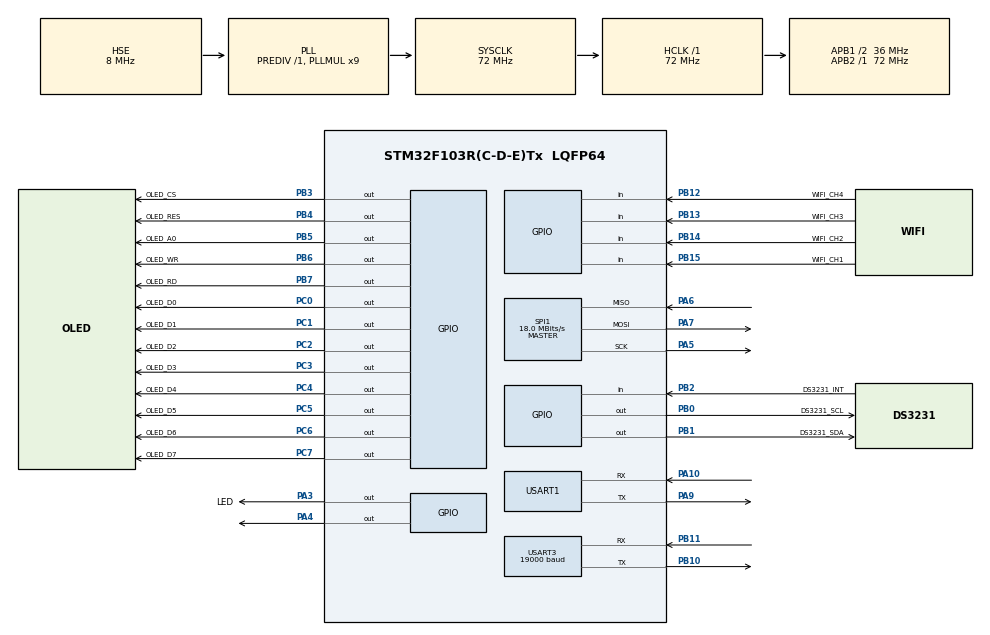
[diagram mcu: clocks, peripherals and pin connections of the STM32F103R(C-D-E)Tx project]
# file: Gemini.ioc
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Dma.Request0=USART1_RX
Dma.Request1=USART1_TX
Dma.Request2=SPI1_RX
Dma.SPI1_RX.2.Direction=DMA_PERIPH_TO_MEMORY
Dma.SPI1_RX.2.Instance=DMA1_Channel2
Dma.SPI1_RX.2.MemDataAlignment=DMA_MDATAALIGN_BYTE
Dma.SPI1_RX.2.MemInc=DMA_MINC_ENABLE
Dma.SPI1_RX.2.Mode=DMA_NORMAL
Dma.SPI1_RX.2.PeriphDataAlignment=DMA_PDATAALIGN_BYTE
Dma.SPI1_RX.2.PeriphInc=DMA_PINC_DISABLE
Dma.SPI1_RX.2.Priority=DMA_PRIORITY_HIGH
Dma.USART1_RX.0.Direction=DMA_PERIPH_TO_MEMORY
Dma.USART1_RX.0.Instance=DMA1_Channel5
Dma.USART1_RX.0.MemDataAlignment=DMA_MDATAALIGN_BYTE
Dma.USART1_RX.0.MemInc=DMA_MINC_ENABLE
Dma.USART1_RX.0.Mode=DMA_NORMAL
Dma.USART1_RX.0.PeriphDataAlignment=DMA_PDATAALIGN_BYTE
Dma.USART1_RX.0.PeriphInc=DMA_PINC_DISABLE
Dma.USART1_RX.0.Priority=DMA_PRIORITY_HIGH
Dma.USART1_TX.1.Direction=DMA_MEMORY_TO_PERIPH
Dma.USART1_TX.1.Instance=DMA1_Channel4
Dma.USART1_TX.1.MemDataAlignment=DMA_MDATAALIGN_BYTE
Dma.USART1_TX.1.MemInc=DMA_MINC_ENABLE
Dma.USART1_TX.1.Mode=DMA_NORMAL
Dma.USART1_TX.1.PeriphDataAlignment=DMA_PDATAALIGN_BYTE
Dma.USART1_TX.1.PeriphInc=DMA_PINC_DISABLE
Dma.USART1_TX.1.Priority=DMA_PRIORITY_LOW
Mcu.Family=STM32F1
Mcu.Name=STM32F103R(C-D-E)Tx
Mcu.Package=LQFP64
NVIC.DMA1_Channel2_IRQn=true\:0\:0\:false\:false\:true\:false\:true
NVIC.DMA1_Channel4_IRQn=true\:0\:0\:false\:false\:true\:false\:true
NVIC.DMA1_Channel5_IRQn=true\:0\:0\:false\:false\:true\:false\:true
NVIC.PriorityGroup=NVIC_PRIORITYGROUP_4
NVIC.TIM4_IRQn=true\:2\:0\:true\:false\:true\:true\:true
NVIC.TIM6_IRQn=true\:0\:0\:false\:false\:true\:true\:true
NVIC.TIM7_IRQn=true\:0\:0\:false\:false\:true\:true\:true
NVIC.TIM8_UP_IRQn=true\:3\:0\:true\:false\:true\:true\:true
NVIC.USART1_IRQn=true\:2\:0\:true\:false\:true\:true\:true
NVIC.USART3_IRQn=true\:0\:0\:false\:false\:true\:true\:true
PA10.Mode=Asynchronous
PA10.Signal=USART1_RX
PA13.Mode=Serial_Wire
PA13.Signal=SYS_JTMS-SWDIO
PA14.Mode=Serial_Wire
PA14.Signal=SYS_JTCK-SWCLK
PA3.GPIO_Label=LED
PA3.GPIO_ModeDefaultOutputPP=GPIO_MODE_OUTPUT_PP
PA3.GPIO_PuPd=GPIO_PULLUP
PA3.GPIO_Speed=GPIO_SPEED_FREQ_LOW
PA3.PinState=GPIO_PIN_SET
PA3.Signal=GPIO_Output
PA4.Signal=GPIO_Output
PA5.Mode=Full_Duplex_Master
PA5.Signal=SPI1_SCK
PA6.Mode=Full_Duplex_Master
PA6.Signal=SPI1_MISO
PA7.Mode=Full_Duplex_Master
PA7.Signal=SPI1_MOSI
PA9.Mode=Asynchronous
PA9.Signal=USART1_TX
PB0.GPIO_Label=DS3231_SCL
PB0.GPIO_PuPd=GPIO_PULLUP
PB0.GPIO_Speed=GPIO_SPEED_FREQ_MEDIUM
PB0.PinState=GPIO_PIN_SET
PB0.Signal=GPIO_Output
PB1.GPIO_Label=DS3231_SDA
PB1.GPIO_PuPd=GPIO_NOPULL
PB1.GPIO_Speed=GPIO_SPEED_FREQ_MEDIUM
PB1.PinState=GPIO_PIN_SET
PB1.Signal=GPIO_Output
PB10.Mode=Asynchronous
PB10.Signal=USART3_TX
PB11.Mode=Asynchronous
PB11.Signal=USART3_RX
PB12.GPIO_Label=WIFI_CH4
PB12.GPIO_Mode=GPIO_MODE_INPUT
PB12.GPIO_PuPd=GPIO_PULLDOWN
PB12.Signal=GPIO_Input
PB13.GPIO_Label=WIFI_CH3
PB13.GPIO_Mode=GPIO_MODE_INPUT
PB13.GPIO_PuPd=GPIO_PULLDOWN
PB13.Signal=GPIO_Input
PB14.GPIO_Label=WIFI_CH2
PB14.GPIO_Mode=GPIO_MODE_INPUT
PB14.GPIO_PuPd=GPIO_PULLDOWN
PB14.Signal=GPIO_Input
PB15.GPIO_Label=WIFI_CH1
PB15.GPIO_Mode=GPIO_MODE_INPUT
PB15.GPIO_PuPd=GPIO_PULLDOWN
PB15.Signal=GPIO_Input
PB2.GPIO_Label=DS3231_INT
PB2.GPIO_PuPd=GPIO_PULLUP
PB2.Signal=GPIO_Input
PB3.GPIO_Label=OLED_CS
PB3.GPIO_ModeDefaultOutputPP=GPIO_MODE_OUTPUT_PP
PB3.GPIO_PuPd=GPIO_PULLUP
PB3.GPIO_Speed=GPIO_SPEED_FREQ_MEDIUM
PB3.PinState=GPIO_PIN_SET
PB3.Signal=GPIO_Output
PB4.GPIO_Label=OLED_RES
PB4.GPIO_ModeDefaultOutputPP=GPIO_MODE_OUTPUT_PP
PB4.GPIO_PuPd=GPIO_PULLUP
PB4.GPIO_Speed=GPIO_SPEED_FREQ_MEDIUM
PB4.PinState=GPIO_PIN_SET
PB4.Signal=GPIO_Output
PB5.GPIO_Label=OLED_A0
PB5.GPIO_ModeDefaultOutputPP=GPIO_MODE_OUTPUT_PP
PB5.GPIO_PuPd=GPIO_PULLUP
PB5.GPIO_Speed=GPIO_SPEED_FREQ_MEDIUM
PB5.PinState=GPIO_PIN_SET
PB5.Signal=GPIO_Output
PB6.GPIO_Label=OLED_WR
PB6.GPIO_ModeDefaultOutputPP=GPIO_MODE_OUTPUT_PP
PB6.GPIO_PuPd=GPIO_PULLUP
PB6.GPIO_Speed=GPIO_SPEED_FREQ_MEDIUM
PB6.PinState=GPIO_PIN_SET
PB6.Signal=GPIO_Output
PB7.GPIO_Label=OLED_RD
PB7.GPIO_ModeDefaultOutputPP=GPIO_MODE_OUTPUT_PP
PB7.GPIO_PuPd=GPIO_PULLUP
PB7.GPIO_Speed=GPIO_SPEED_FREQ_MEDIUM
PB7.PinState=GPIO_PIN_SET
PB7.Signal=GPIO_Output
PC0.GPIO_Label=OLED_D0
PC0.GPIO_ModeDefaultOutputPP=GPIO_MODE_OUTPUT_PP
PC0.GPIO_PuPd=GPIO_PULLUP
PC0.GPIO_Speed=GPIO_SPEED_FREQ_HIGH
PC0.PinState=GPIO_PIN_SET
PC0.Signal=GPIO_Output
PC1.GPIO_Label=OLED_D1
PC1.GPIO_ModeDefaultOutputPP=GPIO_MODE_OUTPUT_PP
PC1.GPIO_PuPd=GPIO_PULLUP
PC1.GPIO_Speed=GPIO_SPEED_FREQ_HIGH
PC1.PinState=GPIO_PIN_SET
PC1.Signal=GPIO_Output
PC2.GPIO_Label=OLED_D2
PC2.GPIO_ModeDefaultOutputPP=GPIO_MODE_OUTPUT_PP
PC2.GPIO_PuPd=GPIO_PULLUP
PC2.GPIO_Speed=GPIO_SPEED_FREQ_HIGH
PC2.PinState=GPIO_PIN_SET
PC2.Signal=GPIO_Output
PC3.GPIO_Label=OLED_D3
PC3.GPIO_ModeDefaultOutputPP=GPIO_MODE_OUTPUT_PP
PC3.GPIO_PuPd=GPIO_PULLUP
PC3.GPIO_Speed=GPIO_SPEED_FREQ_HIGH
PC3.PinState=GPIO_PIN_SET
PC3.Signal=GPIO_Output
PC4.GPIO_Label=OLED_D4
PC4.GPIO_ModeDefaultOutputPP=GPIO_MODE_OUTPUT_PP
PC4.GPIO_PuPd=GPIO_PULLUP
PC4.GPIO_Speed=GPIO_SPEED_FREQ_HIGH
PC4.PinState=GPIO_PIN_SET
PC4.Signal=GPIO_Output
PC5.GPIO_Label=OLED_D5
PC5.GPIO_ModeDefaultOutputPP=GPIO_MODE_OUTPUT_PP
PC5.GPIO_PuPd=GPIO_PULLUP
PC5.GPIO_Speed=GPIO_SPEED_FREQ_HIGH
PC5.PinState=GPIO_PIN_SET
PC5.Signal=GPIO_Output
PC6.GPIO_Label=OLED_D6
PC6.GPIO_ModeDefaultOutputPP=GPIO_MODE_OUTPUT_PP
PC6.GPIO_PuPd=GPIO_PULLUP
PC6.GPIO_Speed=GPIO_SPEED_FREQ_HIGH
PC6.PinState=GPIO_PIN_SET
PC6.Signal=GPIO_Output
PC7.GPIO_Label=OLED_D7
PC7.GPIO_ModeDefaultOutputPP=GPIO_MODE_OUTPUT_PP
PC7.GPIO_PuPd=GPIO_PULLUP
PC7.GPIO_Speed=GPIO_SPEED_FREQ_HIGH
PC7.PinState=GPIO_PIN_SET
PC7.Signal=GPIO_Output
PD0-OSC_IN.Mode=HSE-External-Oscillator
PD0-OSC_IN.Signal=RCC_OSC_IN
PD1-OSC_OUT.Mode=HSE-External-Oscillator
PD1-OSC_OUT.Signal=RCC_OSC_OUT
ProjectManager.HeapSize=0x200
ProjectManager.StackSize=0x400
ProjectManager.TargetToolchain=MDK-ARM V5
RCC.ADCPresc=RCC_ADCPCLK2_DIV6
RCC.AHBFreq_Value=72000000
RCC.APB1CLKDivider=RCC_HCLK_DIV2
RCC.APB1Freq_Value=36000000
RCC.APB1TimFreq_Value=72000000
RCC.APB2Freq_Value=72000000
RCC.APB2TimFreq_Value=72000000
RCC.HCLKFreq_Value=72000000
RCC.PLLMUL=RCC_PLL_MUL9
RCC.PLLSourceVirtual=RCC_PLLSOURCE_HSE
RCC.SYSCLKFreq_VALUE=72000000
RCC.SYSCLKSource=RCC_SYSCLKSOURCE_PLLCLK
RCC.USBFreq_Value=72000000
SPI1.BaudRatePrescaler=SPI_BAUDRATEPRESCALER_4
SPI1.CLKPhase=SPI_PHASE_2EDGE
SPI1.CLKPolarity=SPI_POLARITY_HIGH
SPI1.CalculateBaudRate=18.0 MBits/s
SPI1.Direction=SPI_DIRECTION_2LINES
SPI1.Mode=SPI_MODE_MASTER
SPI1.VirtualType=VM_MASTER
TIM4.AutoReloadPreload=TIM_AUTORELOAD_PRELOAD_ENABLE
TIM4.Period=199
TIM4.Prescaler=7199
TIM6.Period=999
TIM6.Prescaler=7199
TIM7.AutoReloadPreload=TIM_AUTORELOAD_PRELOAD_ENABLE
TIM7.Period=4999
TIM7.Prescaler=7199
TIM8.AutoReloadPreload=TIM_AUTORELOAD_PRELOAD_ENABLE
TIM8.Period=199
TIM8.Prescaler=7199
TIM8.RepetitionCounter=0
USART1.VirtualMode=VM_ASYNC
USART3.BaudRate=19000
USART3.Mode=MODE_RX
USART3.VirtualMode=VM_ASYNC
VP_TIM4_VS_ClockSourceINT.Mode=Internal
VP_TIM6_VS_ClockSourceINT.Mode=Enable_Timer
VP_TIM7_VS_ClockSourceINT.Mode=Enable_Timer
VP_TIM8_VS_ClockSourceINT.Mode=Internal
board=custom

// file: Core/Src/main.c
/* USER CODE BEGIN Header */
/**
  ******************************************************************************
  * @file           : main.c
  * @brief          : Main program body
  ******************************************************************************
  ** This notice applies to any and all portions of this file
  * that are not between comment pairs USER CODE BEGIN and
  * USER CODE END. Other portions of this file, whether
  * inserted by the user or by software development tools
  * are owned by their respective copyright owners.
  *
  * COPYRIGHT(c) 2019 STMicroelectronics
  *
  * Redistribution and use in source and binary forms, with or without modification,
  * are permitted provided that the following conditions are met:
  *   1. Redistributions of source code must retain the above copyright notice,
  *      this list of conditions and the following disclaimer.
  *   2. Redistributions in binary form must reproduce the above copyright notice,
  *      this list of conditions and the following disclaimer in the documentation
  *      and/or other materials provided with the distribution.
  *   3. Neither the name of STMicroelectronics nor the names of its contributors
  *      may be used to endorse or promote products derived from this software
  *      without specific prior written permission.
  *
  * THIS SOFTWARE IS PROVIDED BY THE COPYRIGHT HOLDERS AND CONTRIBUTORS "AS IS"
  * AND ANY EXPRESS OR IMPLIED WARRANTIES, INCLUDING, BUT NOT LIMITED TO, THE
  * IMPLIED WARRANTIES OF MERCHANTABILITY AND FITNESS FOR A PARTICULAR PURPOSE ARE
  * DISCLAIMED. IN NO EVENT SHALL THE COPYRIGHT HOLDER OR CONTRIBUTORS BE LIABLE
  * FOR ANY DIRECT, INDIRECT, INCIDENTAL, SPECIAL, EXEMPLARY, OR CONSEQUENTIAL
  * DAMAGES (INCLUDING, BUT NOT LIMITED TO, PROCUREMENT OF SUBSTITUTE GOODS OR
  * SERVICES; LOSS OF USE, DATA, OR PROFITS; OR BUSINESS INTERRUPTION) HOWEVER
  * CAUSED AND ON ANY THEORY OF LIABILITY, WHETHER IN CONTRACT, STRICT LIABILITY,
  * OR TORT (INCLUDING NEGLIGENCE OR OTHERWISE) ARISING IN ANY WAY OUT OF THE USE
  * OF THIS SOFTWARE, EVEN IF ADVISED OF THE POSSIBILITY OF SUCH DAMAGE.
  *
  ******************************************************************************
  */
/* USER CODE END Header */

#include "main.h"
#include "dma.h"
#include "spi.h"
#include "tim.h"
#include "usart.h"
#include "gpio.h"

/* USER CODE BEGIN Includes */
#include "sys.h"
#include "math.h"
#include "config.h"
#include "oled.h"
#include "ds3231.h"
//#include "mpu6050.h"
#include "flash.h"
#include "stdio.h"
#include "vfd.h"
//#include "apds9960.h"
#include "sk6812.h"
#include "remote.h"

/* USER CODE END Includes */

/* USER CODE BEGIN PD */
#define SLEEPTIME    20*60

/* USER CODE END PD */

/* USER CODE BEGIN PM */
uint8_t Flag_Refrash = False;
uint8_t Flag_Blink = False;
uint8_t Flag_Sleep = False;
uint8_t Flag_Continue = False;
uint8_t Flag_Reception = True;
uint8_t OfflineCount = 10;
uint8_t SystemActive = False;

char Display_Time[6]="--:--";
char Display_State[5] = "----";
char Display_Notification[6]="V1.00";

uint8_t Remote_Value;
uint8_t RandomP = 6;
uint8_t RandomPosX = 30,RandomPosY = 1;
u8 BTVPostionX = 1;//124
u8 BTVPostionY = 5;//30

/* USER CODE END PM */

void SystemClock_Config(void);
/* USER CODE BEGIN PFP */

#define TrumHeight   64
#define TrumWidth    1
#define TrumInterval 1
#define TrumNum	   	 128

uint8_t fall_pot[250]={0};	//记录下落点的坐标
uint8_t flow_pot[250]={0};

u16 Display_Mode = MODE_OFFLINE;

/* USER CODE END PFP */

/* USER CODE BEGIN 0 */
void OLED_Boot(void);
void TIME_Mode(void);

u8 BootGRAM[304*48];

int cont_str(char *s)
{
	int i = 0;
	while ( s[++i] != '\0')   ;
	return i-1;
}
float temp;
void temp_data(void)
{
	float Rt=0;
	float Rp=10000;
	float T2=273.15+25;
	float Bx=3435;
	float Ka=273.15;
	float vol=0;
	//   vol=(float)((Get_Adc_Average(ADC_Channel_5,10))*(3.3/4096));
	//   Rt=(3.3-vol)*10000/vol;
	Rt = 22050;
	temp=1/(1/T2+log(Rt/Rp)/Bx)-Ka+0.5;
	printf("Temp is %f",temp);
}
/* USER CODE END 0 */

int main(void)
{

  /* MCU Configuration--------------------------------------------------------*/

  /* Reset of all peripherals, Initializes the Flash interface and the Systick. */
  HAL_Init();

  /* Configure the system clock */
  SystemClock_Config();

  /* Initialize all configured peripherals */
  MX_GPIO_Init();
  MX_DMA_Init();
  MX_SPI1_Init();
  MX_USART1_UART_Init();
  MX_USART3_UART_Init();
  MX_TIM6_Init();
  MX_TIM7_Init();
  MX_TIM4_Init();
  MX_TIM8_Init();
  /* USER CODE BEGIN 2 */
	OLED_Init();
	__HAL_UART_ENABLE_IT(&huart1, UART_IT_IDLE);
  HAL_UART_Receive_DMA(&huart1,Uart_Recv1_Buf,Uart_Max_Length);
	HAL_TIM_Base_Start_IT(&htim4);
	HAL_TIM_Base_Start_IT(&htim6);
	HAL_TIM_Base_Start_IT(&htim7);
	HAL_TIM_Base_Start_IT(&htim8);

	OLED_AllMotion_Init();
	InitData();
	sprintf(Device_Str.vcputemp,"---#");
	sprintf(Device_Str.vgputemp,"---#");
	printf("Flash ID is 0x%X",SPI_Flash_ReadID());
	HAL_UART_Receive_IT(&huart3,&Uart_Recv3_Data,1);
	Update_Pos();

	SPI_Flash_Init();
//	Recvcmd();
	printf("Init OK\r\n");
	if(Device_Cmd.commandset&0x2)
	{
		OLED_Boot();
	}
	while(1){ OLED_Boot();temp_data();}
  /* USER CODE END 2 */

  /* Infinite loop */
  while (1)
	{

    /* USER CODE BEGIN 3 */
		switch(Display_Mode)
		{
//#if GEMINI == 1
			case MODE_DEFALUT:DATE_Mode();break;
			case MODE_DATE:DATE_Mode();break;
//#else
//			case MODE_DEFALUT:TIME_Mode();break;
//			case MODE_DATE:TIME_Mode();break;
//#endif
			case MODE_NORMAL:NORMAL_Mode();break;
			case MODE_GAME:GAME_Mode();break;
			case MODE_OFFLINE:DATE_Mode();break;
			case MODE_SLEEP:SLEEP_Mode();break;
			case MODE_MUSIC:MUSIC_Mode();break;
			default:Display_Mode = MODE_DEFALUT;break;
		}
  }
  /* USER CODE END 3 */
}

void SystemClock_Config(void)
{
  RCC_OscInitTypeDef RCC_OscInitStruct = {0};
  RCC_ClkInitTypeDef RCC_ClkInitStruct = {0};

  /** Initializes the CPU, AHB and APB busses clocks
  */
  RCC_OscInitStruct.OscillatorType = RCC_OSCILLATORTYPE_HSE;
  RCC_OscInitStruct.HSEState = RCC_HSE_ON;
  RCC_OscInitStruct.HSEPredivValue = RCC_HSE_PREDIV_DIV1;
  RCC_OscInitStruct.HSIState = RCC_HSI_ON;
  RCC_OscInitStruct.PLL.PLLState = RCC_PLL_ON;
  RCC_OscInitStruct.PLL.PLLSource = RCC_PLLSOURCE_HSE;
  RCC_OscInitStruct.PLL.PLLMUL = RCC_PLL_MUL9;
  if (HAL_RCC_OscConfig(&RCC_OscInitStruct) != HAL_OK)
  {
    Error_Handler();
  }
  /** Initializes the CPU, AHB and APB busses clocks
  */
  RCC_ClkInitStruct.ClockType = RCC_CLOCKTYPE_HCLK|RCC_CLOCKTYPE_SYSCLK
                              |RCC_CLOCKTYPE_PCLK1|RCC_CLOCKTYPE_PCLK2;
  RCC_ClkInitStruct.SYSCLKSource = RCC_SYSCLKSOURCE_PLLCLK;
  RCC_ClkInitStruct.AHBCLKDivider = RCC_SYSCLK_DIV1;
  RCC_ClkInitStruct.APB1CLKDivider = RCC_HCLK_DIV2;
  RCC_ClkInitStruct.APB2CLKDivider = RCC_HCLK_DIV1;

  if (HAL_RCC_ClockConfig(&RCC_ClkInitStruct, FLASH_LATENCY_2) != HAL_OK)
  {
    Error_Handler();
  }
}

/* USER CODE BEGIN 4 */

void OLED_Boot(void)
{
	int i;
	for(i=179;i>0;i--)
	{
		SystemActive = False;
		SPI_Flash_Read(BootGRAM,i*256*32,256*32);
		OLED_Clear();
		OLED_Full(BootGRAM);
		OLED_Refresh_Gram();
		SystemActive = True;
	}
#if GEMINI == 1

	int i;
	for(i=0;i<56;i++)
	{
		SystemActive = False;
		SPI_Flash_Read(BootGRAM,i*304*48,304*48);
		OLED_Clear();
		OLED_Full(BootGRAM);
		OLED_Refresh_Gram();
		SystemActive = True;
	}
	HAL_Delay(100);
	for(i=0;i<96;i+=8)
	{
		OLED_Clear();
		OLED_Full(BootGRAM);
		OLED_Refresh_Gram();
	}
#elif MARKC == 1
	int i;
	for(i=0;i<90;i++)
	{
		SPI_Flash_Read(BootGRAM,i*304*12,304*12);
		OLED_Clear();
		OLED_Convert(0,4,152,BootGRAM);
		OLED_Refresh_Gram();
	}
	HAL_Delay(100);
	for(i=4;i<96;i+=8)
	{
		OLED_Clear();
		OLED_Convert(0,i,152,BootGRAM);
		OLED_Refresh_Gram();
	}
#endif
}

void Display_Style3(void)
{
	uint16_t i = 0;
	uint16_t j = 0;
	int Temp = 0;
	uint16_t Index;
	static float BackFlag[100]={0};
	/*******************显示*******************/
	for(i = 0; i < 76; i++)
	{
		Index = (float)i*180/TrumNum;
		Temp = TrumHeight - (u16)(Device_Msg.fft[Index]/2.5f);
		if(Temp < 4)
			Temp = 4;
		if(flow_pot[i]+6 < Temp)
			flow_pot[i] += 2;
		else if(flow_pot[i]+2 < Temp)
			flow_pot[i] += 2;
		else if(flow_pot[i] < Temp)
			flow_pot[i] += 1;

		if(flow_pot[i] > (Temp+6))
			flow_pot[i] -= 2;
		else if(flow_pot[i] > (Temp+2))
			flow_pot[i] -= 2;
		else if(flow_pot[i] > Temp)
			flow_pot[i] -= 1;

		if(fall_pot[i]+3 > flow_pot[i])
		{
			fall_pot[i] = flow_pot[i]-3;
			BackFlag[i] = 0;
		}
		else if(fall_pot[i]+3 < flow_pot[i])
		{
			if(!BackFlag[i])
			{
				if(fall_pot[i]>=4)
					fall_pot[i] -= 1.5f;
				else if(fall_pot[i])
					BackFlag[i] = 1;
			}
			else
				fall_pot[i] += 2;
		}

		GUI_RLine(4*i+0,fall_pot[i],fall_pot[i]+1,4);
		GUI_RLine(4*i+1,fall_pot[i],fall_pot[i]+1,8);
		GUI_RLine(4*i+2,fall_pot[i],fall_pot[i]+1,4);

		GUI_RLine(4*i+0,flow_pot[i],TrumHeight-1,10);
		GUI_RLine(4*i+1,flow_pot[i],TrumHeight-1,15);
		GUI_RLine(4*i+2,flow_pot[i],TrumHeight-1,10);
		for(j=TrumHeight-1;j>=flow_pot[i];j-=2)
			GUI_HLine(4*i+0,j,4*i+2,0);
	}
}

void Display_Style2(void)
{
	uint16_t i = 0;
	int Temp = 0;
	uint16_t Index;
	/*******************显示*******************/
	for(i = 0; i < 102; i++)
	{
		Index = (float)i*180/100;
		Temp = 48 - (u16)(Device_Msg.fft[Index]/4);
		if(Temp < 2)
			Temp = 2;
//		else if(Temp<4) Temp = 4;

		if(flow_pot[i]+6 < Temp)
			flow_pot[i] += 3;
		else if(flow_pot[i]+2 < Temp)
			flow_pot[i] += 2;
		else if(flow_pot[i]+1 < Temp)
			flow_pot[i] += 1;

		if(flow_pot[i] > (Temp+6))
			flow_pot[i] -= 3;
		else if(flow_pot[i] > (Temp+2))
			flow_pot[i] -= 2;
		else if(flow_pot[i] > Temp+1)
			flow_pot[i] -= 1;

		if(fall_pot[i]+3 > flow_pot[i])
		{
			fall_pot[i] = flow_pot[i]-3;
		}
		else if(fall_pot[i]+3 < flow_pot[i])
		{
			fall_pot[i] ++;
		}
		else
			fall_pot[i] = flow_pot[i]-3;
		GUI_RLine(3*i,flow_pot[i],47,15);
		GUI_RLine(3*i+1,flow_pot[i],47,15);
		GUI_RLine(3*i,(47-flow_pot[i])/3+47,46,5);
		GUI_RLine(3*i+1,(47-flow_pot[i])/3+47,46,5);

		GUI_RLine(3*i,fall_pot[i]+1,fall_pot[i]+1,6);
		GUI_RLine(3*i+1,fall_pot[i]+1,fall_pot[i]+1,6);
	}
}

void Display_Style1(void)
{
	uint16_t i = 0;
	int Temp = 0;
	uint16_t Index;
	/*******************显示*******************/
	for(i = 0; i < TrumNum; i++)
	{
		Index = (float)i*180/TrumNum;
		Temp = TrumHeight - (u16)(Device_Msg.fft[Index]/2.5f);
		if(Temp < 2)
			Temp = 2;
//		else if(Temp<4) Temp = 4;

		if(flow_pot[i]+6 < Temp)
			flow_pot[i] += 4;
		else if(flow_pot[i]+2 < Temp)
			flow_pot[i] += 2;
		else if(flow_pot[i]+1 < Temp)
			flow_pot[i] += 1;

		if(flow_pot[i] > (Temp+6))
			flow_pot[i] -= 4;
		else if(flow_pot[i] > (Temp+2))
			flow_pot[i] -= 2;
		else if(flow_pot[i] > Temp+1)
			flow_pot[i] -= 1;

		if(fall_pot[i]+3 > flow_pot[i])
		{
			fall_pot[i] = flow_pot[i]-3;
		}
		else if(fall_pot[i]+3 < flow_pot[i])
		{
			fall_pot[i] ++;
		}
		GUI_RLine((TrumWidth+TrumInterval)*i,flow_pot[i],TrumHeight-1,15);
		GUI_RLine((TrumWidth+TrumInterval)*i,fall_pot[i]+1,fall_pot[i]+1,6);
	}
}

u16 SampPoint[4][192*2];

void Display_Style4()
{

	uint16_t i = 0;
	int Temp = 0;
	uint16_t Index;
	/*******************显示*******************/
	for(i = 0; i < 102; i++)
	{
		Index = (float)i*180/100;
		Temp = TrumHeight - (u16)(Device_Msg.fft[Index]/2.5f);
		if(Temp < 2)
			Temp = 2;
		if(flow_pot[i]+10 < Temp)
			flow_pot[i] += 4;
		else if(flow_pot[i]+3 < Temp)
			flow_pot[i] += 2;
		else if(flow_pot[i] < Temp)
			flow_pot[i] += 1;
		if(flow_pot[i] > (Temp+10))
			flow_pot[i] -= 4;
		else if(flow_pot[i] > (Temp+3))
			flow_pot[i] -= 2;
		else if(flow_pot[i] > Temp)
			flow_pot[i] -= 1;

//		GUI_Line(3*i,flow_pot[i],3*i+3,flow_pot[i+1],13);
		SampPoint[0][i*2] = 3*i;
		SampPoint[0][i*2+1] = flow_pot[i];
		GUI_RLine(3*i,flow_pot[i],TrumHeight-1,3);
		SampPoint[1][i*2] = 3*i;
		SampPoint[1][i*2+1] = flow_pot[i]-1;
	}
	GUI_LineS(SampPoint[0],102,13);
	GUI_LineS(SampPoint[1],102,9);
}

void Display_Style6()
{
	uint16_t i = 0;
	int Temp = 0;
	uint16_t Index;
	/*******************显示*******************/
	for(i = 0; i < 152; i++)
	{
		Index = (float)i*180/152;
		Temp = 32 - (u16)(Device_Msg.fft[Index]/5);
		if(Temp < 2)
			Temp = 2;
		if(flow_pot[i]+10 < Temp)
			flow_pot[i] += 4;
		else if(flow_pot[i]+3 < Temp)
			flow_pot[i] += 2;
		else if(flow_pot[i] < Temp)
			flow_pot[i] += 1;
		if(flow_pot[i] > (Temp+10))
			flow_pot[i] -= 4;
		else if(flow_pot[i] > (Temp+3))
			flow_pot[i] -= 2;
		else if(flow_pot[i] > Temp)
			flow_pot[i] -= 1;

//		GUI_Line(3*i,flow_pot[i],3*i+3,flow_pot[i+1],13);
		if(i%2)
		{
			SampPoint[0][i*2] = 2*i;
			SampPoint[0][i*2+1] = flow_pot[i];
			SampPoint[1][i*2] = 2*i;
			SampPoint[1][i*2+1] = flow_pot[i]-1;

			SampPoint[2][i/2*2] = 2*i;
			SampPoint[2][i/2*2+1] = flow_pot[i];

		}
		else
		{
			SampPoint[0][i*2] = 2*i;
			SampPoint[0][i*2+1] = - flow_pot[i] + 64;
			SampPoint[1][i*2] = 2*i;
			SampPoint[1][i*2+1] = - flow_pot[i] + 64-1;

			SampPoint[3][i/2*2] = 2*i;
			SampPoint[3][i/2*2+1] = - flow_pot[i] + 64;
		}

//		GUI_RLine(3*i,SampPoint[0][i*2+1],SampPoint[1][i*2+1],5);

	}
	GUI_LineS(SampPoint[2],76,5);
	GUI_LineS(SampPoint[3],76,5);

	GUI_LineS(SampPoint[0],152,13);
	GUI_LineS(SampPoint[1],152,13);
}

void Display_Style5()
{

	uint16_t i = 0;
	int Temp = 0;
	uint16_t Index;
	/*******************显示*******************/
	for(i = 0; i < 102; i++)
	{
		Index = (float)i*180/100;
		Temp = 32 - (u16)(Device_Msg.fft[Index]/5);
		if(Temp < 2)
			Temp = 2;
		if(flow_pot[i]+10 < Temp)
			flow_pot[i] += 3;
		else if(flow_pot[i]+3 < Temp)
			flow_pot[i] += 2;
		else if(flow_pot[i] < Temp)
			flow_pot[i] += 1;
		if(flow_pot[i] > (Temp+10))
			flow_pot[i] -= 3;
		else if(flow_pot[i] > (Temp+3))
			flow_pot[i] -= 2;
		else if(flow_pot[i] > Temp)
			flow_pot[i] -= 1;

//		GUI_Line(3*i,flow_pot[i],3*i+3,flow_pot[i+1],13);
		SampPoint[0][i*2] = 3*i;
		SampPoint[0][i*2+1] = flow_pot[i];
		SampPoint[1][i*2] = 3*i;
		SampPoint[1][i*2+1] = - flow_pot[i] + 64;

		GUI_RLine(3*i,SampPoint[0][i*2+1],SampPoint[1][i*2+1],5);

	}
	GUI_LineS(SampPoint[0],102,13);
	GUI_LineS(SampPoint[1],102,13);
}

void MUSICUI_Init()
{
	u8 i;
	for(i=0;i<TrumNum;i++)
	{
		fall_pot[i] = 63;
		flow_pot[i] = 63;
	}

	Flag_Reception = False;
	ClearFFT();
	for(i=0;i<15;)
	{
		if(Flag_Refrash)
		{
			Flag_Refrash = False;
			i++;
			OLED_Clear();
			OLED_AllMotion(Device_Cmd.commandmotion,Device_Cmd.commandspeed);
			switch(Device_Cmd.commandstyle)
			{
				case 1:Display_Style1();break;
				case 2:Display_Style2();break;
				case 3:Display_Style3();break;
				case 4:Display_Style4();break;
				case 5:Display_Style5();break;
				case 6:Display_Style6();break;
				default:Display_Style1();break;
			}

			OLED_Refresh_Gram();
			HAL_GPIO_TogglePin(LED_GPIO_Port,LED_Pin);
		}
	}
	Flag_Reception = True;
	OLED_Clear();
}

void MUSICUI_Out()
{
	u8 i;

	Flag_Reception = False;
	ClearFFT();
	for(i=0;i<30;)
	{
		if(Flag_Refrash)
		{
			Flag_Refrash = False;
			i++;
			OLED_Clear();
			OLED_AllMotion(Device_Cmd.commandmotion,Device_Cmd.commandspeed);
			switch(Device_Cmd.commandstyle)
			{
				case 1:Display_Style1();break;
				case 2:Display_Style2();break;
				case 3:Display_Style3();break;
				case 4:Display_Style4();break;
				case 5:Display_Style5();break;
				case 6:Display_Style6();break;
				default:Display_Style1();break;
			}

			OLED_Refresh_Gram();
			HAL_GPIO_TogglePin(LED_GPIO_Port,LED_Pin);
		}
	}
	Flag_Reception = True;
	OLED_Clear();
}

void MUSIC_Mode(void)
{
	MUSICUI_Init();
	while(Display_Mode == MODE_MUSIC)
	{
		if(Flag_Refrash)
		{
			Flag_Refrash = False;
			if(Flag_Sleep)
			{
				Flag_Sleep = False;
				Display_Mode = MODE_SLEEP;
				break;
			}
			OLED_Clear();
			OLED_AllMotion(Device_Cmd.commandmotion,Device_Cmd.commandspeed);
			switch(Device_Cmd.commandstyle)
			{
				case 1:Display_Style1();break;
				case 2:Display_Style2();break;
				case 3:Display_Style3();break;
				case 4:Display_Style4();break;
				case 5:Display_Style5();break;
				case 6:Display_Style6();break;
				default:Display_Style1();break;
			}

			OLED_Refresh_Gram();
			HAL_GPIO_TogglePin(LED_GPIO_Port,LED_Pin);
		}
	}
	MUSICUI_Out();
}

void Judge_Notification(void)
{
//	if(!Clock_Msg.aiwork)
//	{
		sprintf(Display_Notification,"%5s",ds3231.Time);
		if(Flag_Blink)
			Display_Notification[2] = ' ';
//	}
//	else if(Clock_Msg.aiwork)
//		sprintf(Display_Notification,"XIOAI");
}

typedef struct
{
	u16 MonLen ;
	u16 WeekLen ;
	u16 LineLen;
	u8 MonBtWeek;
}TIMED;

TIMED timed;

void CalcTIMED(char *Mon,char *Week)
{
	timed.MonLen = cont_str(Mon)*5;
	timed.WeekLen = cont_str(Week)*6;
	if(timed.WeekLen>timed.MonLen)
	{
		timed.MonLen = timed.WeekLen;
		timed.MonBtWeek = True;
	}
	else
		timed.MonBtWeek = False;
	timed.LineLen = (timed.MonLen+38)*2;
}

u8 VoiceFlag = False;
void DATE_MainDisplay()
{
	OLED_SF22x40(RandomPosX,RandomPosY,ds3231.Day);
	if(timed.MonBtWeek)
	{
		OLED_SF12x24(RandomPosX+33,RandomPosY+15,ds3231.Week);
	}
	else
		OLED_SF12x24(RandomPosX+33+timed.MonLen - timed.WeekLen,RandomPosY+15,ds3231.Week);

	OLED_SF10x16(RandomPosX,RandomPosY+47,ds3231.Mon);
	OLED_SF10x16(RandomPosX+timed.MonLen+18,RandomPosY+47,ds3231.Year);
	GUI_HLine(RandomPosX*2,RandomPosY+44,RandomPosX*2+timed.LineLen,0xF);

	if(VoiceFlag)
	{
		SHOW_CORN.BTV = False;
		if(Flow_BTV() == OLED_IDLE)
		{
			if(BTVPostionX>50)
				Motion_VOICE(BTVPostionX-6,15);
			else
				Motion_VOICE(BTVPostionX,15);
		}
	}
	else
		Flow_BTV();
}

void DATEUI_Init()
{
	int i;
	SHOW_CORN.BTV = True;
	CalcTIMED(ds3231.Mon,ds3231.Week);
	for(i = 0;i<20;i++)
	{
			OLED_Clear();
			OLED_AllMotion(Device_Cmd.commandmotion,Device_Cmd.commandspeed);

			Flow_BTV();

			OLED_SF22x40(RandomPosX ,RandomPosY-40+i*2,ds3231.Day);
			if(timed.MonBtWeek)
				OLED_SF12x24(RandomPosX+33,RandomPosY+15-40+i*2,ds3231.Week);
			else
				OLED_SF12x24(RandomPosX+33+timed.MonLen - timed.WeekLen,RandomPosY+15-40+i*2,ds3231.Week);
			OLED_SF10x16(RandomPosX,RandomPosY+47+40-i*2,ds3231.Mon);
			OLED_SF10x16(RandomPosX+timed.MonLen+18,RandomPosY+47+40-i*2,ds3231.Year);

			GUI_HLine(RandomPosX*2,RandomPosY+44,RandomPosX*2+(float)timed.LineLen/(20-i),0xF); //注意

		OLED_Refresh_Gram();
	}
}

void DATEUI_Out()
{
	int i;
	float line;
	SHOW_CORN.BTV = False;
	Motion_MovmeteorInit();
	CalcTIMED(ds3231.Mon,ds3231.Week);
	line = timed.LineLen;
	for(i = 19;i>=0;i--)
	{
		OLED_Clear();

		OLED_AllMotion(Device_Cmd.commandmotion,Device_Cmd.commandspeed);

			Flow_BTV();

		OLED_SF22x40(RandomPosX ,RandomPosY-40+i*2,ds3231.Day);
		if(timed.MonBtWeek)
			OLED_SF12x24(RandomPosX+33,RandomPosY+15-40+i*2,ds3231.Week);
		else
			OLED_SF12x24(RandomPosX+33+timed.MonLen - timed.WeekLen,RandomPosY+15-40+i*2,ds3231.Week);
		OLED_SF10x16(RandomPosX,RandomPosY+47+40-i*2,ds3231.Mon);
		OLED_SF10x16(RandomPosX+timed.MonLen+18,RandomPosY+47+40-i*2,ds3231.Year);

		GUI_HLine(RandomPosX*2,RandomPosY+44,RandomPosX*2+line/(20-i),0xF); //注意

		OLED_Refresh_Gram();
	}
}

void Update_Pos(void)
{
	if(BTVPostionX > 100)
	{
		BTVPostionX = rand()%4+1;
//		BTVPostionY = rand()%10+20;
		RandomPosX = rand()%4 + 34;
//		RandomPosY = rand()%22 + 10;
		RandomP = rand()%13;
	}
	else
	{
		BTVPostionX = rand()%4+100;
//		BTVPostionY = rand()%10+20;
		RandomPosX = rand()%4 + 10;
//		RandomPosY = rand()%22 + 10;
		RandomP = rand()%13;
	}
}

void DATE_Mode(void)
{
	Update_Pos();
	DATEUI_Init();
	while(Display_Mode == MODE_DATE||Display_Mode == MODE_DEFALUT||Display_Mode == MODE_OFFLINE)
	{
		if(Flag_Refrash)
		{
			Flag_Refrash = False;
			if(Flag_Sleep)
			{
				Flag_Sleep = False;
				Display_Mode = MODE_SLEEP;
				break;
			}
			OLED_Clear();
			OLED_AllMotion(Device_Cmd.commandmotion,Device_Cmd.commandspeed);
			DATE_MainDisplay();
			OLED_Refresh_Gram();

			HAL_GPIO_TogglePin(LED_GPIO_Port,LED_Pin);
		}
	}
	DATEUI_Out();
}

void TIMEUI_Init()
{
	static char str[20];
	int i;sprintf(str,"%s.%4s.%s",ds3231.Year,ds3231.Mon,ds3231.Day);
	for(i = 0;i<20;i++)
	{
		OLED_Clear();

		OLED_AllMotion(Device_Cmd.commandmotion,Device_Cmd.commandspeed);

		OLED_SF32x46(RandomP+4-10+i/2,31,ds3231.Hour,'B');
		OLED_SF32x46(RandomP+48,32-40+i*2,ds3231.Min,'T');
		GUI_CircleFill(RandomP*2+84,43-40+i*2,2,15);
		GUI_CircleFill(RandomP*2+84,68+20-i,2,15);
		OLED_SF10x16(RandomP+90,39-40+i*2,ds3231.Week);

		OLED_SF8x16(RandomP+90+60-i*3,56,str);

		GUI_HLine(RandomP*2+180,56,RandomP*2+180+i*5,15);

		OLED_Refresh_Gram();
	}

}

void TIMEUI_Out()
{
	static char str[20];
	int i;sprintf(str,"%s.%4s.%s",ds3231.Year,ds3231.Mon,ds3231.Day);
	for(i = 20;i>=0;i--)
	{
		OLED_Clear();

		OLED_AllMotion(Device_Cmd.commandmotion,Device_Cmd.commandspeed);

		OLED_SF32x46(RandomP+4-10+i/2,31,ds3231.Hour,'B');
		OLED_SF32x46(RandomP+48,32-40+i*2,ds3231.Min,'T');
		GUI_CircleFill(RandomP*2+84,43-40+i*2,2,15);
		GUI_CircleFill(RandomP*2+84,68+20-i,2,15);
		OLED_SF10x16(RandomP+90,39-40+i*2,ds3231.Week);

		OLED_SF8x16(RandomP+90+60-i*3,56,str);
		GUI_HLine(RandomP*2+180,56,RandomP*2+180+i*5,15);

		OLED_Refresh_Gram();
	}

}
void TIME_MainDisplay(void)
{
	static char str[20];
	OLED_SF32x46(RandomP+4,31,ds3231.Hour,'B');
	OLED_SF32x46(RandomP+48,32,ds3231.Min,'T');
	GUI_CircleFill(RandomP*2+84,43,2,15);
	GUI_CircleFill(RandomP*2+84,68,2,15);
	OLED_SF10x16(RandomP+90,39,ds3231.Week);
	sprintf(str,"%s.%4s.%s",ds3231.Year,ds3231.Mon,ds3231.Day);
	OLED_SF8x16(RandomP+90,56,str);
	GUI_HLine(RandomP*2+180,56,RandomP*2+278,15);
}

void TIME_Mode(void)
{
	TIMEUI_Init();
	while(Display_Mode == MODE_DATE)
	{
		if(Flag_Refrash)
		{
			Flag_Refrash = False;
			if(Flag_Sleep)
			{
				Flag_Sleep = False;
				Display_Mode = MODE_SLEEP;
				break;
			}
			OLED_Clear();
			OLED_AllMotion(Device_Cmd.commandmotion,Device_Cmd.commandspeed);
			TIME_MainDisplay();
			OLED_Refresh_Gram();

			HAL_GPIO_TogglePin(LED_GPIO_Port,LED_Pin);
		}
	}
//	TIMEUI_Out();
}

void SLEEP_Mode(void)
{
	u16 i;
	for(i=0;i<1000;)
	{
		if(Flag_Refrash)
		{
			Flag_Refrash = False;i++;
			OLED_Clear();
			OLED_AllMotion(Device_Cmd.commandmotion,Device_Cmd.commandspeed);
			OLED_OlRefresh_Gram();
			HAL_GPIO_TogglePin(LED_GPIO_Port,LED_Pin);
		}
	}
	OLED_Clear();
	CalcTIMED(ds3231.Mon,ds3231.Week);
}

void OFFLINE_Mode(void)
{
	while(Display_Mode == MODE_OFFLINE)
	{
		if(Flag_Refrash)
		{
			Flag_Refrash = False;
			OLED_Clear();
			OLED_AllMotion(Device_Cmd.commandmotion,Device_Cmd.commandspeed);
			OLED_Refresh_Gram();
			HAL_GPIO_TogglePin(LED_GPIO_Port,LED_Pin);
		}
	}
	OLED_Clear();
}

void NORMAL_MainDisplay(void)
{
	OLED_SF8x16(30,0,Device_Str.cputemp);
	OLED_SF8x16(30,16,Device_Str.cpuclock);
	OLED_BAR64x10(60+2,36,Device_Msg.cpuload/10,0);
	OLED_SF8x16(30,50+2,Device_Str.gputemp);
	OLED_SF8x16(30,66+2,Device_Str.gpuclock);
	OLED_BAR64x10(60+2,86+2,Device_Msg.gpuload/10,1);

	Flow_Coordinate(2);
	Showbar(Display_Notification);

	Flow_Corn();
	Flow_Line();
	Flow_USB();

	OLED_Part(30,33,32,10,Show_Load);
	OLED_Part(30,83+2,32,10,Show_Load);
	OLED_Part(24,0,5,16,Corn_Temp);
	OLED_Part(24,16,5,16,Corn_Freq);
	OLED_Part(24,32,5,10,Corn_Load);
	OLED_Part(24,50+2,5,16,Corn_Temp);
	OLED_Part(24,66+2,5,16,Corn_Freq);
	OLED_Part(24,82+2,5,10,Corn_Load);
	if(VoiceFlag)
	{
		SHOW_CORN.ASUS = False;
		if(Flow_ASUS() == OLED_IDLE)
		{
			Motion_VOICE(115,28);
		}
	}
	else
		Flow_ASUS();
}

void NORMALUI_Init(void)
{
	Notbarautoflag = True;
	Notbarrefsflag = True;
	OLED_Clear();
	SHOW_CORN.ASUS = True;
	SHOW_CORN.CPUGPU = True;
	SHOW_CORN.LINE = True;
	SHOW_CORN.USBD = True;
	Clear_FRAM();
	OLED_RefrashCoordinate(Device_Msg.cpuload/10);
	OLED_Part(30,33,32,10,Show_Load);
	OLED_Part(30,83+2,32,10,Show_Load);
	OLED_Part(24,0,5,16,Corn_Temp);
	OLED_Part(24,16,5,16,Corn_Freq);
	OLED_Part(24,32,5,10,Corn_Load);
	OLED_Part(24,50+2,5,16,Corn_Temp);
	OLED_Part(24,66+2,5,16,Corn_Freq);
	OLED_Part(24,82+2,5,10,Corn_Load);
	HAL_TIM_Base_Start_IT(&htim6);
	Flag_Reception = False;
	InitData();
	Device_Msg.cpuload = 1000;
	Device_Msg.gpuload = 1000;
	while(!Flag_Continue)
	{
		if(Flag_Refrash)
		{
			Flag_Refrash = False;Judge_Notification();
			OLED_Fill(0);
			OLED_AllMotion(Device_Cmd.commandmotion,Device_Cmd.commandspeed);
			NORMAL_MainDisplay();
			OLED_Refresh_Gram();
		}
	}
	Flag_Continue = False;
	HAL_TIM_Base_Start_IT(&htim6);
	Flag_Reception = True;
	while(!Flag_Continue)
	{
		if(Flag_Refrash)
		{
			Flag_Refrash = False;Judge_Notification();
			OLED_Fill(0);
			OLED_AllMotion(Device_Cmd.commandmotion,Device_Cmd.commandspeed);
			Device_Msg.cpuload = 0;
			Device_Msg.gpuload = 0;
			NORMAL_MainDisplay();
			OLED_Refresh_Gram();
		}
	}
	Flag_Continue = False;
}

void NORMALUI_Out(void)
{
	u8 i;
	SHOW_CORN.ASUS = False;
	SHOW_CORN.CPUGPU = False;
	SHOW_CORN.LINE = False;
	SHOW_CORN.USBD = False;
	sprintf(Display_Notification,"-----");
	Notbarautoflag = False;
	for(i=0;i<36;i++)
	{
//		while(!Flag_Refrash) __ASM("NOP");
		Flag_Refrash = False;
		Device_Msg.cpuload=0;
		Device_Msg.cpuload=0;
		OLED_Fill(0);
		NORMAL_MainDisplay();if(i>2)
		GUI_RectangleFill(44,0,128,95,0);
		OLED_AllMotion(Device_Cmd.commandmotion,Device_Cmd.commandspeed);
		Flow_Coordinate(0);
		OLED_Refresh_Gram();
	}
	OLED_Fill(0);
	DampValueClear();
}

void NORMAL_Mode(void)
{
	static u16 SleepTypo = 0;
	static u8 FlashFlag = 0;
	NORMALUI_Init();
	while(Display_Mode == MODE_NORMAL)
	{
		if(Flag_Refrash)
		{
			Flag_Refrash = False;
			if(!FlashFlag++%64)
				OLED_RefrashCoordinate(Device_Msg.cpuload/10);
			if(Flag_Sleep)
			{
				sprintf(Display_Notification,"Sleep");
				SleepTypo++;
				if(SleepTypo >= 250)
				{
					SleepTypo = 0;
					Flag_Sleep = False;
					Display_Mode = MODE_SLEEP;
				}
			}
			else
			{
				Judge_Notification();
			}
			OLED_Fill(0);
			OLED_AllMotion(Device_Cmd.commandmotion,Device_Cmd.commandspeed);
			NORMAL_MainDisplay();
			OLED_Refresh_Gram();
		}
	}
	NORMALUI_Out();
}

void GAME_MainDisplay(void)
{
	SHOW_CORN.GAMEBK=True;
	OLED_SF8x16(10,40,Device_Str.ncpufan);
	OLED_SF8x16(10+76,40,Device_Str.ngpufan);
	OLED_SF10x16(2,72,Device_Str.ncpuclock);
	OLED_SF10x16(27,72,Device_Str.ngputemp);
	OLED_SF10x16(52,72,Display_State);

	OLED_BAR(74,46+2,75,8,Device_Msg.cpufan/30,1,2);
	OLED_BAR(74+152,46+2,75,8,Device_Msg.gpufan/30,1,3);

	OLED_BAR(152+2,73,146,21,Device_Msg.ramload/10,2,4);

	OLED_BAR(0+2,12,146,15,Device_Msg.cpuload/10,2,5);
	OLED_BAR(152+2,12,146,15,Device_Msg.gpuload/10,2,6);
}

void GAME_Out(void)
{
	int i;
	Flag_Reception = False;
	InitData();
	sprintf(Display_State,"%4s",Device_Str.ramusrdata);
	Device_Msg.cpuload = 0;
	Device_Msg.gpuload = 0;
	Device_Msg.cpufan = 0;
	Device_Msg.gpufan = 0;
	Device_Msg.ramload = 0;
	for(i = 300 ;i>=0;i-=6)
	{
		OLED_Fill(0);
		SportUIMt(i);

		if(i>100)
		{
			GAME_MainDisplay();
		}

		if(Flag_Refrash)
		{
			Flag_Refrash = False;
			OLED_AllMotion(Device_Cmd.commandmotion,Device_Cmd.commandspeed);
			SportUI2Mt(i);
			SportUIMt(i);
			if(i>100)
			{
				GAME_MainDisplay();
			}

			OLED_Refresh_Gram();
		}
		if(i>420&&!DampValueBusy())
			break;
	}
	DampValueClear();
	Flag_Reception = True;
}

void GAME_Init(void)
{
	int i;
	Flag_Reception = False;
	InitData();
	sprintf(Display_State,"%4s",Device_Str.ramusrdata);
	Device_Msg.cpuload = 1000;
	Device_Msg.gpuload = 1000;
	Device_Msg.cpufan = 3000;
	Device_Msg.gpufan = 3000;
	Device_Msg.ramload = 1000;
	for(i= 0 ;i<300;i+=6)
	{
		OLED_Fill(0);
		SportUIMt(i);

		if(i>100)
		{
			GAME_MainDisplay();
		}

		if(Flag_Refrash)
		{
			Flag_Refrash = False;
			OLED_AllMotion(Device_Cmd.commandmotion,Device_Cmd.commandspeed);
			SportUIMt(i);
			SportUI2Mt(i);
			if(i>100)
			{
				GAME_MainDisplay();
			}

			OLED_Refresh_Gram();
		}
	}
	Flag_Reception = True;
}

void GAME_Mode(void)
{
	static u16 SleepTypo = 0;
	GAME_Init();
	while(Display_Mode == MODE_GAME)
	{
		if(Flag_Refrash)
		{
			Flag_Refrash = False;
			if(Flag_Sleep)
			{
				sprintf(Display_State,"REST");
				SleepTypo++;
				if(SleepTypo >= 250)
				{
					SleepTypo = 0;
					Flag_Sleep = False;
					Display_Mode = MODE_SLEEP;
				}
			}
			else
				sprintf(Display_State,"%4s",Device_Str.ramusrdata);
			OLED_Fill(0);
			OLED_AllMotion(Device_Cmd.commandmotion,Device_Cmd.commandspeed);
			OLED_Full(UI_Sport);
			GAME_MainDisplay();
			OLED_Refresh_Gram();
		}
	}
	GAME_Out();
}

u8 TimeSystem_Convert(u8 Hour,u8 Sys)
{
	if(!Sys)
	{
		if(Hour == 0x12)
			return 0;
		else
			return Hour;
	}
	else
	{
		if(Hour == 0x12)
			return 0x12;
		else
			return HEX2BCD(BCD2HEX(Hour) + 12);
	}
}
void HAL_TIM_PeriodElapsedCallback(TIM_HandleTypeDef *htim)
{
	static u16 SleepCount = 0;
//	static u8 InitFlag = True;
	static u8 U3WatchDogCount = 0;
	static u16 ContinueCount = 0;
	if (htim->Instance == htim4.Instance)
	{
		Flag_Refrash = True;

	}
	if(htim->Instance==TIM5)
	{
	}
	if (htim->Instance == htim6.Instance)
	{
		if(ContinueCount++>20)
		{
			Flag_Continue = True;
			ContinueCount = 0;
			HAL_TIM_Base_Stop_IT(&htim6);
		}
	}
	if (htim->Instance == htim8.Instance)
	{
	}
	if (htim->Instance == htim7.Instance)
	{
		if(HAL_GPIO_ReadPin(WIFI_CH1_GPIO_Port,WIFI_CH1_Pin))
			VoiceFlag = True;
		U3WatchDogCount++;
		if(OfflineCount<1)
		{
			OfflineCount++;
		}
		else if(OfflineCount<2)
		{
			ClearFFT();
			OfflineCount++;
		}
		else if(OfflineCount <10)
		{
			InitData();
			OfflineCount++;
		}
		else if(OfflineCount == 10)
		{
			Display_Mode = MODE_OFFLINE;
		}
		Flag_Blink = (~Flag_Blink)&1;

//
//		printf("R:%d G:%d B:%d\r\n",RGBRAM[1][0],RGBRAM[1][1],RGBRAM[1][2]);
//		if(HAL_GPIO_ReadPin(HUMAN_GPIO_Port,HUMAN_Pin) == 0)
//				printf("没人\r\n");
//			else
//				printf("有人\r\n");
		Time_Handle();
		if(Uart_Overflow1_Flag)
		{
			DS3231_SetUart();
			OfflineCount = 0;
//			VFD_Bright = 0xff;

			Uart_Overflow1_Flag = False;
		}
		if(Device_Cmd.commandset&0x4)
		{
			if(SleepCount++>SLEEPTIME*2)
			{
				Flag_Sleep = True;
				SleepCount = 0;
			}
		}
		else
			SleepCount = 0;
//		Update_Pos();

		if(SaveFlag && SystemActive)
		{
			SaveFlag = False;
			Tranfcmd();
		}
	}
}

/* USER CODE END 4 */

void Error_Handler(void)
{
}

/************************ (C) COPYRIGHT STMicroelectronics *****END OF FILE****/
